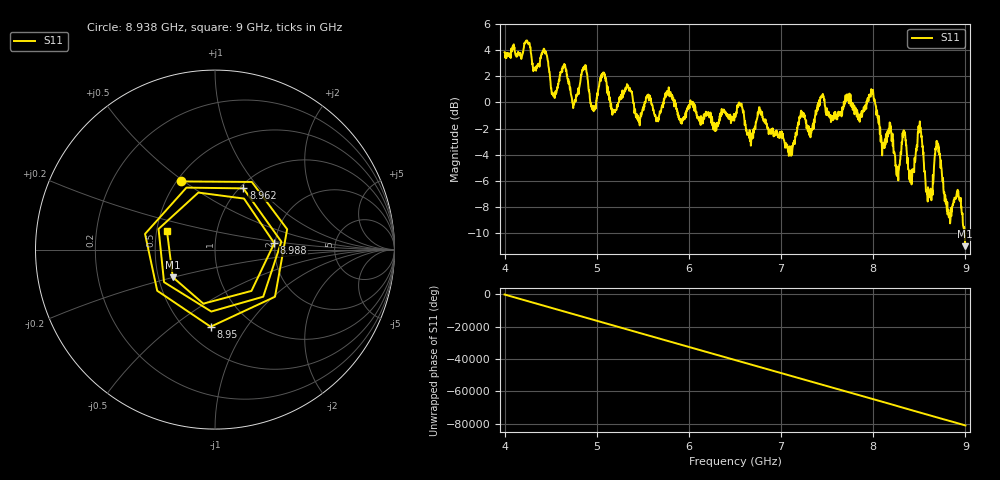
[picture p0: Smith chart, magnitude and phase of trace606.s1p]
! Created with skrf 1.8.0 (http://scikit-rf.org).
# Hz S RI R 50.0
!freq ReS11 ImS11
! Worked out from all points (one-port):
!   1601 points, 4 GHz to 9 GHz, reference 50 ohm
!   lowest |S11| = -11.0 dB at 8.997 GHz (marker M1), VSWR 1.78, Z = 29.7 - j9.9 ohm
!   |S11| at or under -10 dB: 8.989883 GHz to end of sweep
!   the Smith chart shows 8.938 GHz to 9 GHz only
!   S11 on the Smith chart (normalised r, x): 8.938 GHz: 0.53, +0.49; 8.95 GHz: 0.66, -0.70; 8.962 GHz: 1.04, +0.83; 8.988 GHz: 1.98, +0.16; 9 GHz: 0.57, +0.13
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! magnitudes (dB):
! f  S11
! 4 GHz  3.9
! 4.438 GHz  3.8
! 4.538 GHz  0.6
! 4.625 GHz  2.4
! 4.747 GHz  -0.2
! 4.862 GHz  2.7
! 4.962 GHz  -0.3
! 5.066 GHz  2.2
! 5.25 GHz  0.2
! 5.875 GHz  -0.6
! 6.5 GHz  -0.9
! 7.125 GHz  -3.4
! 7.438 GHz  0.5
! 7.75 GHz  0.1
! 7.991 GHz  0.9
! 8.097 GHz  -4.1
! 8.375 GHz  -4.2
! 8.419 GHz  -5.6
! 8.506 GHz  -1.5
! 8.594 GHz  -6.5
! 8.697 GHz  -3.3
! 8.812 GHz  -8.4
! 8.938 GHz  -7.5
! 8.95 GHz  -7.3
! 8.962 GHz  -8.5
! 8.988 GHz  -9.6
! 8.997 GHz  -11.0
! 9 GHz  -10.9
